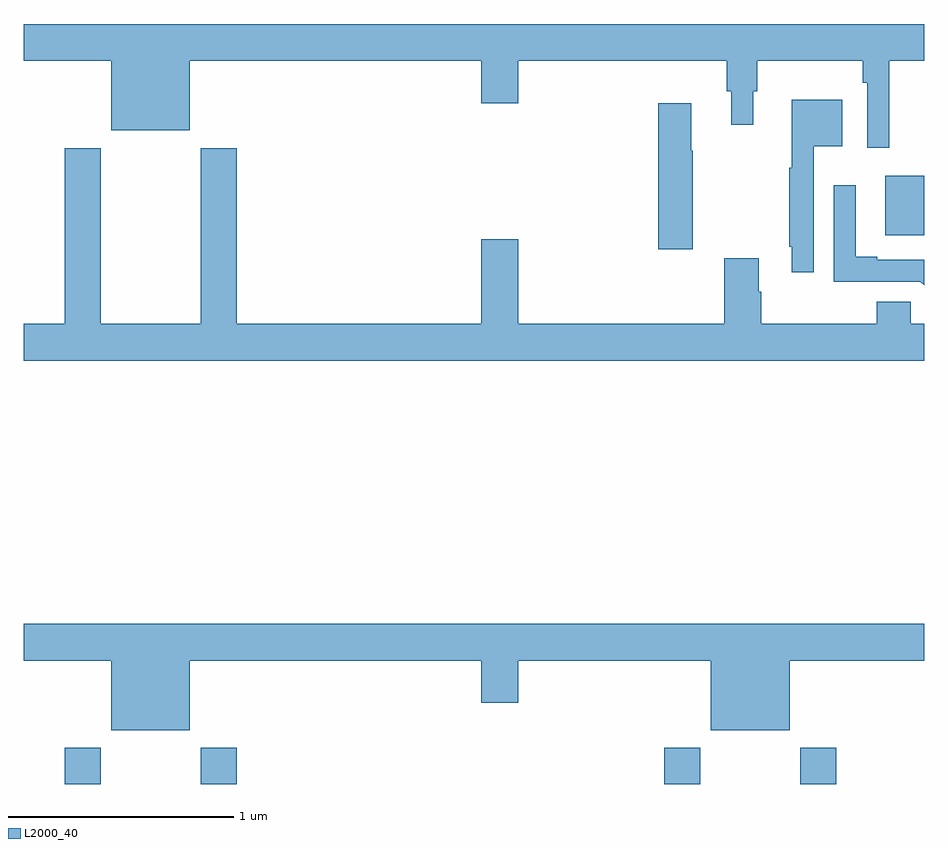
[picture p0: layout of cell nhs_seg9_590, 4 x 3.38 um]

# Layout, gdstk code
import gdstk
lib = gdstk.Library(unit=1e-6, precision=1e-09)
def R(c, l, rs):  # rectangles x0, y0, x1, y1
    for r in rs: c.add(gdstk.rectangle(r[:2], r[2:], *l))
def P(c, l, *ps):  # polygons
    for p in ps: c.add(gdstk.Polygon(p, *l))
L2000_40 = (2000, 40)

nhs_seg9_590 = lib.new_cell('nhs_seg9_590')
R(nhs_seg9_590, L2000_40, [(139.181,1234.5,139.341,1234.66), (139.786,1234.5,139.946,1234.66), (141.845,1234.5,142.005,1234.66), (142.45,1234.5,142.61,1234.66), (142.826,1236.938,143,1237.201)])
P(nhs_seg9_590, L2000_40, [(139,1237.712),(139.388,1237.712),(139.388,1237.403),(139.738,1237.403),(139.738,1237.712),(141.032,1237.712),(141.032,1237.524),(141.196,1237.524),(141.196,1237.712),(142.123,1237.712),(142.123,1237.578),(142.142,1237.578),(142.142,1237.428),(142.24,1237.428),(142.24,1237.578),(142.259,1237.578),(142.259,1237.712),(142.726,1237.712),(142.726,1237.616),(142.746,1237.616),(142.746,1237.326),(142.844,1237.326),(142.844,1237.712),(143,1237.712),(143,1237.876),(139,1237.876)],
  [(142.509,1237.334),(142.636,1237.334),(142.636,1237.54),(142.412,1237.54),(142.412,1237.238),(142.401,1237.238),(142.401,1236.886),(142.412,1236.886),(142.412,1236.774),(142.509,1236.774)],
  [(141.972,1237.312),(141.964,1237.312),(141.964,1237.525),(141.818,1237.525),(141.818,1236.876),(141.972,1236.876)],
  [(143,1236.544),(142.941,1236.544),(142.941,1236.642),(142.79,1236.642),(142.79,1236.544),(142.277,1236.544),(142.277,1236.686),(142.264,1236.686),(142.264,1236.835),(142.112,1236.835),(142.112,1236.544),(141.196,1236.544),(141.196,1236.919),(141.032,1236.919),(141.032,1236.544),(139.946,1236.544),(139.946,1237.324),(139.786,1237.324),(139.786,1236.544),(139.341,1236.544),(139.341,1237.324),(139.181,1237.324),(139.181,1236.544),(139,1236.544),(139,1236.38),(143,1236.38)],
  [(143,1236.828),(142.792,1236.828),(142.792,1236.841),(142.696,1236.841),(142.696,1237.159),(142.599,1237.159),(142.599,1236.732),(142.983,1236.732),(143,1236.715)],
  [(139,1235.048),(139.388,1235.048),(139.388,1234.739),(139.738,1234.739),(139.738,1235.048),(141.032,1235.048),(141.032,1234.86),(141.196,1234.86),(141.196,1235.048),(142.052,1235.048),(142.052,1234.739),(142.402,1234.739),(142.402,1235.048),(143,1235.048),(143,1235.212),(139,1235.212)])

lib.write_gds('nhs_seg9_590.gds')
